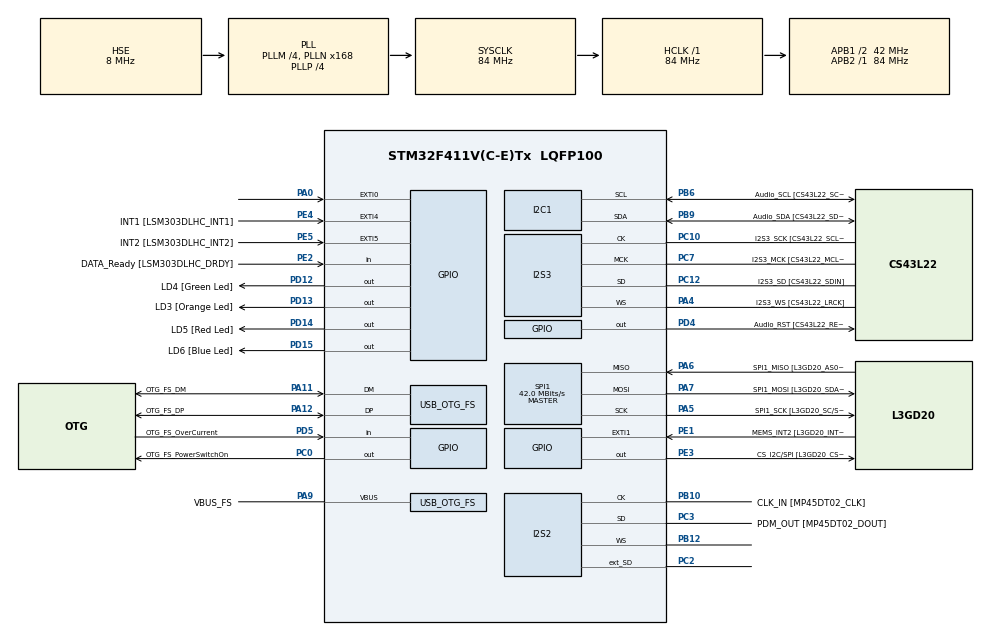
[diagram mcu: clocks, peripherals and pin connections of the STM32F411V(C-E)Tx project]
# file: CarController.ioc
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FREERTOS.Tasks01=defaultTask,24,128,StartDefaultTask,Default,NULL,Dynamic,NULL,NULL
I2C1.DutyCycle=I2C_DUTYCYCLE_16_9
I2C1.I2C_Mode=I2C_Fast
I2S2.AudioFreq=I2S_AUDIOFREQ_96K
I2S2.ErrorAudioFreq=0.15 %
I2S2.FullDuplexMode=I2S_FULLDUPLEXMODE_ENABLE
I2S2.Instance=SPI$Index
I2S2.RealAudioFreq=96.153 KHz
I2S2.VirtualMode=I2S_MODE_MASTER
I2S3.AudioFreq=I2S_AUDIOFREQ_96K
I2S3.ErrorAudioFreq=-6.99 %
I2S3.FullDuplexMode=I2S_FULLDUPLEXMODE_DISABLE
I2S3.Instance=SPI$Index
I2S3.RealAudioFreq=89.285 KHz
I2S3.VirtualMode=I2S_MODE_MASTER
Mcu.Family=STM32F4
Mcu.Name=STM32F411V(C-E)Tx
Mcu.Package=LQFP100
NVIC.EXTI4_IRQn=true\:5\:0\:false\:false\:true\:true\:true\:true
NVIC.OTG_FS_IRQn=true\:5\:0\:false\:false\:true\:true\:true\:true
NVIC.PriorityGroup=NVIC_PRIORITYGROUP_4
NVIC.TIM4_IRQn=true\:5\:0\:false\:false\:true\:true\:true\:true
PA0-WKUP.GPIO_ModeDefaultEXTI=GPIO_MODE_EVT_RISING
PA0-WKUP.Signal=GPXTI0
PA10.GPIO_Label=OTG_FS_ID
PA10.Signal=USB_OTG_FS_ID
PA11.GPIO_Label=OTG_FS_DM
PA11.Mode=Device_Only
PA11.Signal=USB_OTG_FS_DM
PA12.GPIO_Label=OTG_FS_DP
PA12.Mode=Device_Only
PA12.Signal=USB_OTG_FS_DP
PA13.GPIO_Label=SWDIO
PA13.Mode=Serial_Wire
PA13.Signal=SYS_JTMS-SWDIO
PA14.GPIO_Label=SWCLK
PA14.Mode=Serial_Wire
PA14.Signal=SYS_JTCK-SWCLK
PA4.GPIO_Label=I2S3_WS [CS43L22_LRCK]
PA4.GPIO_Mode=GPIO_MODE_AF_PP
PA4.GPIO_PuPd=GPIO_NOPULL
PA4.GPIO_Speed=GPIO_SPEED_FREQ_LOW
PA4.Mode=Half_Duplex_Master
PA4.Signal=I2S3_WS
PA5.GPIO_Label=SPI1_SCK [L3GD20_SC/SPC]
PA5.Mode=Full_Duplex_Master
PA5.Signal=SPI1_SCK
PA6.GPIO_Label=SPI1_MISO [L3GD20_AS0/SDO]
PA6.Mode=Full_Duplex_Master
PA6.Signal=SPI1_MISO
PA7.GPIO_Label=SPI1_MOSI [L3GD20_SDA/SDI/SDO]
PA7.Mode=Full_Duplex_Master
PA7.Signal=SPI1_MOSI
PA9.GPIO_Label=VBUS_FS
PA9.Mode=Activate_VBUS
PA9.Signal=USB_OTG_FS_VBUS
PB10.GPIO_Label=CLK_IN [MP45DT02_CLK]
PB10.Mode=Full_Duplex_Master
PB10.Signal=I2S2_CK
PB12.Mode=Full_Duplex_Master
PB12.Signal=I2S2_WS
PB3.GPIO_Label=SWO
PB3.Signal=SYS_JTDO-SWO
PB6.GPIO_Label=Audio_SCL [CS43L22_SCL]
PB6.GPIO_Mode=GPIO_MODE_AF_OD
PB6.GPIO_PuPd=GPIO_NOPULL
PB6.GPIO_Speed=GPIO_SPEED_FREQ_LOW
PB6.Mode=I2C
PB6.Signal=I2C1_SCL
PB9.GPIO_Label=Audio_SDA [CS43L22_SDA]
PB9.GPIO_Mode=GPIO_MODE_AF_OD
PB9.GPIO_PuPd=GPIO_NOPULL
PB9.GPIO_Speed=GPIO_SPEED_FREQ_LOW
PB9.Mode=I2C
PB9.Signal=I2C1_SDA
PC0.GPIO_Label=OTG_FS_PowerSwitchOn
PC0.PinState=GPIO_PIN_SET
PC0.Signal=GPIO_Output
PC10.GPIO_Label=I2S3_SCK [CS43L22_SCLK]
PC10.GPIO_Mode=GPIO_MODE_AF_PP
PC10.GPIO_PuPd=GPIO_NOPULL
PC10.GPIO_Speed=GPIO_SPEED_FREQ_LOW
PC10.Mode=Half_Duplex_Master
PC10.Signal=I2S3_CK
PC12.GPIO_Label=I2S3_SD [CS43L22_SDIN]
PC12.GPIO_Mode=GPIO_MODE_AF_PP
PC12.GPIO_PuPd=GPIO_NOPULL
PC12.GPIO_Speed=GPIO_SPEED_FREQ_LOW
PC12.Mode=Half_Duplex_Master
PC12.Signal=I2S3_SD
PC14-OSC32_IN.GPIO_Label=PC14-OSC32_IN
PC14-OSC32_IN.Signal=RCC_OSC32_IN
PC15-OSC32_OUT.GPIO_Label=PC15-OSC32_OUT
PC15-OSC32_OUT.Signal=RCC_OSC32_OUT
PC2.Mode=Full_Duplex_Master
PC2.Signal=I2S2_ext_SD
PC3.GPIO_Label=PDM_OUT [MP45DT02_DOUT]
PC3.Mode=Full_Duplex_Master
PC3.Signal=I2S2_SD
PC7.GPIO_Label=I2S3_MCK [CS43L22_MCLK]
PC7.GPIO_Mode=GPIO_MODE_AF_PP
PC7.GPIO_PuPd=GPIO_NOPULL
PC7.GPIO_Speed=GPIO_SPEED_FREQ_LOW
PC7.Mode=Master_Clock_Activated
PC7.Signal=I2S3_MCK
PD12.GPIO_Label=LD4 [Green Led]
PD12.GPIO_PuPd=GPIO_NOPULL
PD12.GPIO_Speed=GPIO_SPEED_FREQ_LOW
PD12.Signal=GPIO_Output
PD13.GPIO_Label=LD3 [Orange Led]
PD13.GPIO_PuPd=GPIO_NOPULL
PD13.GPIO_Speed=GPIO_SPEED_FREQ_LOW
PD13.Signal=GPIO_Output
PD14.GPIO_Label=LD5 [Red Led]
PD14.GPIO_PuPd=GPIO_NOPULL
PD14.GPIO_Speed=GPIO_SPEED_FREQ_LOW
PD14.Signal=GPIO_Output
PD15.GPIO_Label=LD6 [Blue Led]
PD15.GPIO_PuPd=GPIO_NOPULL
PD15.GPIO_Speed=GPIO_SPEED_FREQ_LOW
PD15.Signal=GPIO_Output
PD4.GPIO_Label=Audio_RST [CS43L22_RESET]
PD4.Signal=GPIO_Output
PD5.GPIO_Label=OTG_FS_OverCurrent
PD5.Signal=GPIO_Input
PE1.GPIO_Label=MEMS_INT2 [L3GD20_INT2]
PE1.GPIO_ModeDefaultEXTI=GPIO_MODE_EVT_RISING
PE1.Signal=GPXTI1
PE2.GPIO_Label=DATA_Ready [LSM303DLHC_DRDY]
PE2.Signal=GPIO_Input
PE3.GPIO_Label=CS_I2C/SPI [L3GD20_CS_I2C/SPI]
PE3.Signal=GPIO_Output
PE4.GPIO_Label=INT1 [LSM303DLHC_INT1]
PE4.GPIO_ModeDefaultEXTI=GPIO_MODE_IT_RISING
PE4.Signal=GPXTI4
PE5.GPIO_Label=INT2 [LSM303DLHC_INT2]
PE5.GPIO_ModeDefaultEXTI=GPIO_MODE_EVT_RISING
PE5.Signal=GPXTI5
PH0\ -\ OSC_IN.GPIO_Label=PH0-OSC_IN
PH0\ -\ OSC_IN.Mode=HSE-External-Oscillator
PH0\ -\ OSC_IN.Signal=RCC_OSC_IN
PH1\ -\ OSC_OUT.GPIO_Label=PH1-OSC_OUT
PH1\ -\ OSC_OUT.Mode=HSE-External-Oscillator
PH1\ -\ OSC_OUT.Signal=RCC_OSC_OUT
ProjectManager.HeapSize=0x200
ProjectManager.StackSize=0x400
ProjectManager.TargetToolchain=STM32CubeIDE
RCC.48MHZClocksFreq_Value=48000000
RCC.AHBFreq_Value=84000000
RCC.APB1CLKDivider=RCC_HCLK_DIV2
RCC.APB1Freq_Value=42000000
RCC.APB1TimFreq_Value=84000000
RCC.APB2Freq_Value=84000000
RCC.APB2TimFreq_Value=84000000
RCC.CortexFreq_Value=84000000
RCC.HCLKFreq_Value=84000000
RCC.HSE_VALUE=8000000
RCC.HSI_VALUE=16000000
RCC.LSE_VALUE=32768
RCC.PLLI2SM=5
RCC.PLLI2SN=200
RCC.PLLM=4
RCC.PLLN=168
RCC.PLLP=RCC_PLLP_DIV4
RCC.PLLQ=7
RCC.SYSCLKFreq_VALUE=84000000
RCC.SYSCLKSource=RCC_SYSCLKSOURCE_PLLCLK
RCC.VCOOutputFreq_Value=336000000
SPI1.BaudRatePrescaler=SPI_BAUDRATEPRESCALER_2
SPI1.CalculateBaudRate=42.0 MBits/s
SPI1.Direction=SPI_DIRECTION_2LINES
SPI1.Mode=SPI_MODE_MASTER
SPI1.VirtualType=VM_MASTER
TIM4.Period=1000
TIM4.Prescaler=83
USB_DEVICE.CLASS_NAME_FS=CDC
USB_DEVICE.PRODUCT_STRING_CDC_FS=CarController
USB_DEVICE.VirtualMode=Cdc
USB_DEVICE.VirtualModeFS=Cdc_FS
USB_OTG_FS.VirtualMode=Device_Only
VP_FREERTOS_VS_CMSIS_V2.Mode=CMSIS_V2
VP_TIM4_VS_ClockSourceINT.Mode=Internal
VP_USB_DEVICE_VS_USB_DEVICE_CDC_FS.Mode=CDC_FS
board=STM32F411E-DISCO

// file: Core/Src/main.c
/* USER CODE BEGIN Header */
/**
  ******************************************************************************
  * @file           : main.c
  * @brief          : Main program body
  ******************************************************************************
  * @attention
  *
  * <h2><center>&copy; Copyright (c) 2021 STMicroelectronics.
  * All rights reserved.</center></h2>
  *
  * This software component is licensed by ST under Ultimate Liberty license
  * SLA0044, the "License"; You may not use this file except in compliance with
  * the License. You may obtain a copy of the License at:
  *                             www.st.com/SLA0044
  *
  ******************************************************************************
  */
/* USER CODE END Header */
#include "main.h"
#include "cmsis_os.h"
#include "queue.h"
#include "usb_device.h"

/* USER CODE BEGIN Includes */
#include "usbd_cdc_if.h"

/* USER CODE END Includes */

I2C_HandleTypeDef hi2c1;

I2S_HandleTypeDef hi2s2;
I2S_HandleTypeDef hi2s3;

SPI_HandleTypeDef hspi1;

TIM_HandleTypeDef htim4;

/* Definitions for defaultTask */
osThreadId_t defaultTaskHandle;
const osThreadAttr_t defaultTask_attributes = {
  .name = "defaultTask",
  .priority = (osPriority_t) osPriorityNormal,
  .stack_size = 128 * 4
};

void SystemClock_Config(void);
static void MX_GPIO_Init(void);
static void MX_I2C1_Init(void);
static void MX_I2S2_Init(void);
static void MX_I2S3_Init(void);
static void MX_SPI1_Init(void);
static void MX_TIM4_Init(void);
void StartDefaultTask(void *argument);

/* USER CODE BEGIN PFP */
uint8_t i2c1_pisiRegister(uint8_t, uint8_t, uint8_t);
void i2c1_beriRegistre(uint8_t, uint8_t, uint8_t*, uint8_t);
void initOrientation(void);
void HAL_GPIO_EXTI_Callback(uint16_t GPIO_Pin);

int16_t meritev[3];
uint32_t buttonStable = 0;
uint8_t sendingEnabled = 0;
char data_buf[265];
char button_buf[265];

uint8_t button_pressed = 0;

QueueHandle_t buttonQueue = NULL;
QueueHandle_t sensorQueue = NULL;

struct SensorData {
	int16_t X;
	int16_t Y;
	int16_t Z;
};
/* USER CODE END PFP */

/* USER CODE BEGIN 0 */
uint8_t i2c1_pisiRegister(uint8_t naprava, uint8_t reg, uint8_t podatek) {
    naprava <<= 1;
    return HAL_I2C_Mem_Write(&hi2c1, naprava, reg, I2C_MEMADD_SIZE_8BIT, &podatek, 1, 10);
}

void i2c1_beriRegistre(uint8_t naprava, uint8_t reg, uint8_t* podatek, uint8_t dolzina) {
    if ((dolzina>1)&&(naprava==0x19))
        reg |= 0x80;
    naprava <<= 1;
    HAL_I2C_Mem_Read(&hi2c1, naprava, reg, I2C_MEMADD_SIZE_8BIT, podatek, dolzina, dolzina);
}

void initOrientation() {
    HAL_Delay(10);

#define OLD_SENSOR 0x73 // Odkomentiramo za LSM303DLHC / stari senzor
//#define NEW_SENSOR 0x6E // Odkomentiramo za LSM303AGR / novi senzor

#if defined(OLD_SENSOR) && !defined(NEW_SENSOR)
    i2c1_pisiRegister(0x1e, 0x4F, OLD_SENSOR);
#elif !defined(OLD_SENSOR) && defined(NEW_SENSOR)
    i2c1_pisiRegister(0x1e, 0x4F, NEW_SENSOR);
#else
    for(;;); // V primeru napake, pocakamo tukaj
#endif
    HAL_Delay(100);

    i2c1_pisiRegister(0x19, 0x20, 0x37);
    i2c1_pisiRegister(0x19, 0x22, 1u<<4u);
    i2c1_pisiRegister(0x19, 0x23, 0x98);
}

void reading(){
	for(;;){
		struct SensorData data;
		HAL_GPIO_TogglePin(GPIOD, GPIO_PIN_13);
		i2c1_beriRegistre(0x19, 0x28,(uint8_t*)&data.X, 6);
		xQueueSend( sensorQueue, &data, pdMS_TO_TICKS( 200 ) );
		vTaskDelay(100);
	}
}

void button_reading(){
	uint8_t data = 1;
	for(;;){
		HAL_GPIO_TogglePin(GPIOD, GPIO_PIN_15);
		if(HAL_GPIO_ReadPin(GPIOA, GPIO_PIN_0)) {
            buttonStable++;
        }else {
            if(buttonStable > 5) {

                if(sendingEnabled == 0) {
                    sendingEnabled = 1;
                }else{
                    button_pressed = 1;
                    xQueueSend( buttonQueue, &data, pdMS_TO_TICKS( 200 ) );
                }
            }

            buttonStable = 0;
        }
        vTaskDelay(10);
	}
}

void sensor_transmitting(){
	struct SensorData data;
	for(;;){
		HAL_GPIO_TogglePin(GPIOD, GPIO_PIN_12);
		xQueueReceive( sensorQueue, &data, portMAX_DELAY );
		if(sendingEnabled==1){
			int length = sprintf(&data_buf, "{\"type\":\"acc\", \"X\":%.3f, \"Y\":%.3f, \"Z\":%.3f}\n\r", ((float) data.X) * 0.00012, ((float) -data.Y) * 0.00012, ((float) data.Z) * 0.00012);
			CDC_Transmit_FS(&data_buf, length);
		}
	}
}

void button_transmitting(){
	uint8_t data;
	for(;;){
		HAL_GPIO_TogglePin(GPIOD, GPIO_PIN_14);
		xQueueReceive( buttonQueue, &data, portMAX_DELAY );
		if(sendingEnabled==1){
			int length = sprintf(&button_buf, "{\"type\":\"button\"}\n\r");
			CDC_Transmit_FS(&button_buf, length);
		}
	}
}
/* USER CODE END 0 */

int main(void)
{

  /* MCU Configuration--------------------------------------------------------*/

  /* Reset of all peripherals, Initializes the Flash interface and the Systick. */
  HAL_Init();

  /* Configure the system clock */
  SystemClock_Config();

  /* Initialize all configured peripherals */
  MX_GPIO_Init();
  MX_I2C1_Init();
  MX_I2S2_Init();
  MX_I2S3_Init();
  MX_SPI1_Init();
  MX_TIM4_Init();
  /* USER CODE BEGIN 2 */
    HAL_TIM_Base_Start_IT(&htim4);
    __HAL_I2C_ENABLE(&hi2c1);

    initOrientation();
    i2c1_beriRegistre(0x19, 0x28,(uint8_t*)&meritev[0], 6);

    buttonQueue = xQueueCreate( 4, sizeof( uint8_t ) );
    sensorQueue = xQueueCreate( 4, sizeof( struct SensorData ) );

    TaskHandle_t readingHandle = NULL;
    TaskHandle_t button_readingHandle = NULL;
    TaskHandle_t transmittingHandle = NULL;

    xTaskCreate(
    		reading,       /* Function that implements the task. */
            "Reading",          /* Text name for the task. */
			256,      /* Stack size in words, not bytes. */
            ( void * ) 1,    /* Parameter passed into the task. */
            tskIDLE_PRIORITY,/* Priority at which the task is created. */
            &readingHandle );      /* Used to pass out the created task's handle. */

    xTaskCreate(
    		button_reading,       /* Function that implements the task. */
    		"ButtonReading",          /* Text name for the task. */
			256,      /* Stack size in words, not bytes. */
    		( void * ) 1,    /* Parameter passed into the task. */
    		tskIDLE_PRIORITY,/* Priority at which the task is created. */
    		&button_readingHandle );      /* Used to pass out the created task's handle. */

    xTaskCreate(
    		button_transmitting,       /* Function that implements the task. */
    		"ButtonTransmitting",          /* Text name for the task. */
			256,      /* Stack size in words, not bytes. */
    		( void * ) 1,    /* Parameter passed into the task. */
    		tskIDLE_PRIORITY+1,/* Priority at which the task is created. */
    		&transmittingHandle );      /* Used to pass out the created task's handle. */

    xTaskCreate(
       		sensor_transmitting,       /* Function that implements the task. */
       		"SensorTransmitting",          /* Text name for the task. */
       		256,      /* Stack size in words, not bytes. */
       		( void * ) 1,    /* Parameter passed into the task. */
       		tskIDLE_PRIORITY+1,/* Priority at which the task is created. */
       		&transmittingHandle );      /* Used to pass out the created task's handle. */
  /* USER CODE END 2 */

  /* Init scheduler */
  osKernelInitialize();

  /* Create the thread(s) */
  /* creation of defaultTask */
  defaultTaskHandle = osThreadNew(StartDefaultTask, NULL, &defaultTask_attributes);

  /* Start scheduler */
  vTaskStartScheduler();

  /* We should never get here as control is now taken by the scheduler */
  /* Infinite loop */
  while (1)
  {

  }
}

void SystemClock_Config(void)
{
  RCC_OscInitTypeDef RCC_OscInitStruct = {0};
  RCC_ClkInitTypeDef RCC_ClkInitStruct = {0};
  RCC_PeriphCLKInitTypeDef PeriphClkInitStruct = {0};

  /** Configure the main internal regulator output voltage
  */
  __HAL_RCC_PWR_CLK_ENABLE();
  __HAL_PWR_VOLTAGESCALING_CONFIG(PWR_REGULATOR_VOLTAGE_SCALE1);
  /** Initializes the RCC Oscillators according to the specified parameters
  * in the RCC_OscInitTypeDef structure.
  */
  RCC_OscInitStruct.OscillatorType = RCC_OSCILLATORTYPE_HSE;
  RCC_OscInitStruct.HSEState = RCC_HSE_ON;
  RCC_OscInitStruct.PLL.PLLState = RCC_PLL_ON;
  RCC_OscInitStruct.PLL.PLLSource = RCC_PLLSOURCE_HSE;
  RCC_OscInitStruct.PLL.PLLM = 4;
  RCC_OscInitStruct.PLL.PLLN = 168;
  RCC_OscInitStruct.PLL.PLLP = RCC_PLLP_DIV4;
  RCC_OscInitStruct.PLL.PLLQ = 7;
  if (HAL_RCC_OscConfig(&RCC_OscInitStruct) != HAL_OK)
  {
    Error_Handler();
  }
  /** Initializes the CPU, AHB and APB buses clocks
  */
  RCC_ClkInitStruct.ClockType = RCC_CLOCKTYPE_HCLK|RCC_CLOCKTYPE_SYSCLK
                              |RCC_CLOCKTYPE_PCLK1|RCC_CLOCKTYPE_PCLK2;
  RCC_ClkInitStruct.SYSCLKSource = RCC_SYSCLKSOURCE_PLLCLK;
  RCC_ClkInitStruct.AHBCLKDivider = RCC_SYSCLK_DIV1;
  RCC_ClkInitStruct.APB1CLKDivider = RCC_HCLK_DIV2;
  RCC_ClkInitStruct.APB2CLKDivider = RCC_HCLK_DIV1;

  if (HAL_RCC_ClockConfig(&RCC_ClkInitStruct, FLASH_LATENCY_2) != HAL_OK)
  {
    Error_Handler();
  }
  PeriphClkInitStruct.PeriphClockSelection = RCC_PERIPHCLK_I2S;
  PeriphClkInitStruct.PLLI2S.PLLI2SN = 200;
  PeriphClkInitStruct.PLLI2S.PLLI2SM = 5;
  PeriphClkInitStruct.PLLI2S.PLLI2SR = 2;
  if (HAL_RCCEx_PeriphCLKConfig(&PeriphClkInitStruct) != HAL_OK)
  {
    Error_Handler();
  }
}

static void MX_I2C1_Init(void)
{

  hi2c1.Instance = I2C1;
  hi2c1.Init.ClockSpeed = 400000;
  hi2c1.Init.DutyCycle = I2C_DUTYCYCLE_16_9;
  hi2c1.Init.OwnAddress1 = 0;
  hi2c1.Init.AddressingMode = I2C_ADDRESSINGMODE_7BIT;
  hi2c1.Init.DualAddressMode = I2C_DUALADDRESS_DISABLE;
  hi2c1.Init.OwnAddress2 = 0;
  hi2c1.Init.GeneralCallMode = I2C_GENERALCALL_DISABLE;
  hi2c1.Init.NoStretchMode = I2C_NOSTRETCH_DISABLE;
  if (HAL_I2C_Init(&hi2c1) != HAL_OK)
  {
    Error_Handler();
  }

}

static void MX_I2S2_Init(void)
{

  hi2s2.Instance = SPI2;
  hi2s2.Init.Mode = I2S_MODE_MASTER_TX;
  hi2s2.Init.Standard = I2S_STANDARD_PHILIPS;
  hi2s2.Init.DataFormat = I2S_DATAFORMAT_16B;
  hi2s2.Init.MCLKOutput = I2S_MCLKOUTPUT_DISABLE;
  hi2s2.Init.AudioFreq = I2S_AUDIOFREQ_96K;
  hi2s2.Init.CPOL = I2S_CPOL_LOW;
  hi2s2.Init.ClockSource = I2S_CLOCK_PLL;
  hi2s2.Init.FullDuplexMode = I2S_FULLDUPLEXMODE_ENABLE;
  if (HAL_I2S_Init(&hi2s2) != HAL_OK)
  {
    Error_Handler();
  }

}

static void MX_I2S3_Init(void)
{

  hi2s3.Instance = SPI3;
  hi2s3.Init.Mode = I2S_MODE_MASTER_TX;
  hi2s3.Init.Standard = I2S_STANDARD_PHILIPS;
  hi2s3.Init.DataFormat = I2S_DATAFORMAT_16B;
  hi2s3.Init.MCLKOutput = I2S_MCLKOUTPUT_ENABLE;
  hi2s3.Init.AudioFreq = I2S_AUDIOFREQ_96K;
  hi2s3.Init.CPOL = I2S_CPOL_LOW;
  hi2s3.Init.ClockSource = I2S_CLOCK_PLL;
  hi2s3.Init.FullDuplexMode = I2S_FULLDUPLEXMODE_DISABLE;
  if (HAL_I2S_Init(&hi2s3) != HAL_OK)
  {
    Error_Handler();
  }

}

static void MX_SPI1_Init(void)
{

  /* SPI1 parameter configuration*/
  hspi1.Instance = SPI1;
  hspi1.Init.Mode = SPI_MODE_MASTER;
  hspi1.Init.Direction = SPI_DIRECTION_2LINES;
  hspi1.Init.DataSize = SPI_DATASIZE_8BIT;
  hspi1.Init.CLKPolarity = SPI_POLARITY_LOW;
  hspi1.Init.CLKPhase = SPI_PHASE_1EDGE;
  hspi1.Init.NSS = SPI_NSS_SOFT;
  hspi1.Init.BaudRatePrescaler = SPI_BAUDRATEPRESCALER_2;
  hspi1.Init.FirstBit = SPI_FIRSTBIT_MSB;
  hspi1.Init.TIMode = SPI_TIMODE_DISABLE;
  hspi1.Init.CRCCalculation = SPI_CRCCALCULATION_DISABLE;
  hspi1.Init.CRCPolynomial = 10;
  if (HAL_SPI_Init(&hspi1) != HAL_OK)
  {
    Error_Handler();
  }

}

static void MX_TIM4_Init(void)
{

  TIM_ClockConfigTypeDef sClockSourceConfig = {0};
  TIM_MasterConfigTypeDef sMasterConfig = {0};

  htim4.Instance = TIM4;
  htim4.Init.Prescaler = 83;
  htim4.Init.CounterMode = TIM_COUNTERMODE_UP;
  htim4.Init.Period = 1000;
  htim4.Init.ClockDivision = TIM_CLOCKDIVISION_DIV1;
  htim4.Init.AutoReloadPreload = TIM_AUTORELOAD_PRELOAD_DISABLE;
  if (HAL_TIM_Base_Init(&htim4) != HAL_OK)
  {
    Error_Handler();
  }
  sClockSourceConfig.ClockSource = TIM_CLOCKSOURCE_INTERNAL;
  if (HAL_TIM_ConfigClockSource(&htim4, &sClockSourceConfig) != HAL_OK)
  {
    Error_Handler();
  }
  sMasterConfig.MasterOutputTrigger = TIM_TRGO_RESET;
  sMasterConfig.MasterSlaveMode = TIM_MASTERSLAVEMODE_DISABLE;
  if (HAL_TIMEx_MasterConfigSynchronization(&htim4, &sMasterConfig) != HAL_OK)
  {
    Error_Handler();
  }

}

static void MX_GPIO_Init(void)
{
  GPIO_InitTypeDef GPIO_InitStruct = {0};

  /* GPIO Ports Clock Enable */
  __HAL_RCC_GPIOE_CLK_ENABLE();
  __HAL_RCC_GPIOC_CLK_ENABLE();
  __HAL_RCC_GPIOH_CLK_ENABLE();
  __HAL_RCC_GPIOA_CLK_ENABLE();
  __HAL_RCC_GPIOB_CLK_ENABLE();
  __HAL_RCC_GPIOD_CLK_ENABLE();

  /*Configure GPIO pin Output Level */
  HAL_GPIO_WritePin(CS_I2C_SPI_GPIO_Port, CS_I2C_SPI_Pin, GPIO_PIN_RESET);

  /*Configure GPIO pin Output Level */
  HAL_GPIO_WritePin(OTG_FS_PowerSwitchOn_GPIO_Port, OTG_FS_PowerSwitchOn_Pin, GPIO_PIN_SET);

  /*Configure GPIO pin Output Level */
  HAL_GPIO_WritePin(GPIOD, LD4_Pin|LD3_Pin|LD5_Pin|LD6_Pin
                          |Audio_RST_Pin, GPIO_PIN_RESET);

  /*Configure GPIO pin : DATA_Ready_Pin */
  GPIO_InitStruct.Pin = DATA_Ready_Pin;
  GPIO_InitStruct.Mode = GPIO_MODE_INPUT;
  GPIO_InitStruct.Pull = GPIO_NOPULL;
  HAL_GPIO_Init(DATA_Ready_GPIO_Port, &GPIO_InitStruct);

  /*Configure GPIO pin : CS_I2C_SPI_Pin */
  GPIO_InitStruct.Pin = CS_I2C_SPI_Pin;
  GPIO_InitStruct.Mode = GPIO_MODE_OUTPUT_PP;
  GPIO_InitStruct.Pull = GPIO_NOPULL;
  GPIO_InitStruct.Speed = GPIO_SPEED_FREQ_LOW;
  HAL_GPIO_Init(CS_I2C_SPI_GPIO_Port, &GPIO_InitStruct);

  /*Configure GPIO pin : INT1_Pin */
  GPIO_InitStruct.Pin = INT1_Pin;
  GPIO_InitStruct.Mode = GPIO_MODE_IT_RISING;
  GPIO_InitStruct.Pull = GPIO_NOPULL;
  HAL_GPIO_Init(INT1_GPIO_Port, &GPIO_InitStruct);

  /*Configure GPIO pins : INT2_Pin MEMS_INT2_Pin */
  GPIO_InitStruct.Pin = INT2_Pin|MEMS_INT2_Pin;
  GPIO_InitStruct.Mode = GPIO_MODE_EVT_RISING;
  GPIO_InitStruct.Pull = GPIO_NOPULL;
  HAL_GPIO_Init(GPIOE, &GPIO_InitStruct);

  /*Configure GPIO pin : OTG_FS_PowerSwitchOn_Pin */
  GPIO_InitStruct.Pin = OTG_FS_PowerSwitchOn_Pin;
  GPIO_InitStruct.Mode = GPIO_MODE_OUTPUT_PP;
  GPIO_InitStruct.Pull = GPIO_NOPULL;
  GPIO_InitStruct.Speed = GPIO_SPEED_FREQ_LOW;
  HAL_GPIO_Init(OTG_FS_PowerSwitchOn_GPIO_Port, &GPIO_InitStruct);

  /*Configure GPIO pin : PA0 */
  GPIO_InitStruct.Pin = GPIO_PIN_0;
  GPIO_InitStruct.Mode = GPIO_MODE_EVT_RISING;
  GPIO_InitStruct.Pull = GPIO_NOPULL;
  HAL_GPIO_Init(GPIOA, &GPIO_InitStruct);

  /*Configure GPIO pins : LD4_Pin LD3_Pin LD5_Pin LD6_Pin
                           Audio_RST_Pin */
  GPIO_InitStruct.Pin = LD4_Pin|LD3_Pin|LD5_Pin|LD6_Pin
                          |Audio_RST_Pin;
  GPIO_InitStruct.Mode = GPIO_MODE_OUTPUT_PP;
  GPIO_InitStruct.Pull = GPIO_NOPULL;
  GPIO_InitStruct.Speed = GPIO_SPEED_FREQ_LOW;
  HAL_GPIO_Init(GPIOD, &GPIO_InitStruct);

  /*Configure GPIO pin : OTG_FS_OverCurrent_Pin */
  GPIO_InitStruct.Pin = OTG_FS_OverCurrent_Pin;
  GPIO_InitStruct.Mode = GPIO_MODE_INPUT;
  GPIO_InitStruct.Pull = GPIO_NOPULL;
  HAL_GPIO_Init(OTG_FS_OverCurrent_GPIO_Port, &GPIO_InitStruct);

  /* EXTI interrupt init*/
  HAL_NVIC_SetPriority(EXTI4_IRQn, 5, 0);
  HAL_NVIC_EnableIRQ(EXTI4_IRQn);

}

void StartDefaultTask(void *argument)
{
  /* init code for USB_DEVICE */
  MX_USB_DEVICE_Init();
  for(;;)
  {
    osDelay(1);
  }
}

void Error_Handler(void)
{
  __disable_irq();
  while (1)
  {
  }
}

/************************ (C) COPYRIGHT STMicroelectronics *****END OF FILE****/
